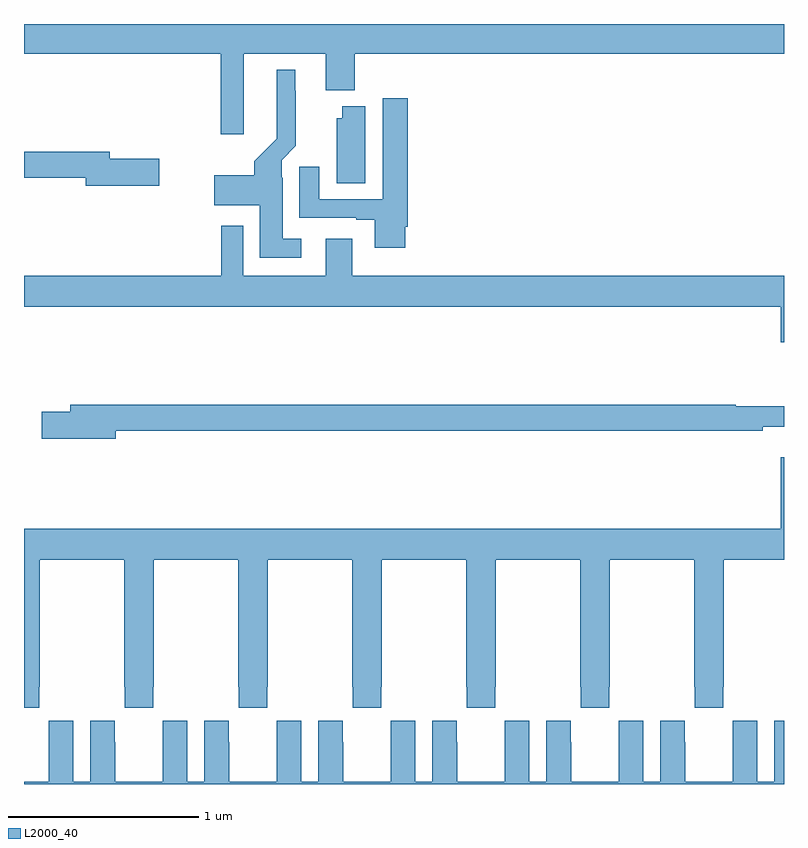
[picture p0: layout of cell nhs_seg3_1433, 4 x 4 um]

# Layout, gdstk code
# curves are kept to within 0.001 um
import gdstk
lib = gdstk.Library(unit=1e-6, precision=1e-09)
def P(c, l, *ps):  # polygons
    for p in ps: c.add(gdstk.Polygon(p, *l))
L2000_40 = (2000, 40)

nhs_seg3_1433 = lib.new_cell('nhs_seg3_1433')
P(nhs_seg3_1433, L2000_40, [(186.157,706.244),(186.587,706.244),(186.587,706.052),(186.74,706.052),(186.74,706.244),(189,706.244),(189,706.4),(185,706.4),(185,706.244),(186.035,706.244),(186.035,705.819),(186.157,705.819)],
  [(186.46,705.271),(186.361,705.271),(186.361,705.59),(186.357,705.59),(186.357,705.684),(186.431,705.758),(186.431,706.049),(186.427,706.049),(186.427,706.159),(186.329,706.159),(186.33,705.796),(186.212,705.678),(186.212,705.604),(186,705.604),(186,705.446),(186.242,705.446),(186.242,705.17),(186.46,705.17)],
  [(187.006,705.334),(187.019,705.334),(187.019,706.009),(186.887,706.009),(186.887,705.477),(186.553,705.477),(186.553,705.649),(186.449,705.649),(186.449,705.381),(186.749,705.381),(186.749,705.369),(186.845,705.369),(186.845,705.222),(187.006,705.222)],
  [(186.796,705.967),(186.674,705.967),(186.674,705.903),(186.647,705.903),(186.647,705.562),(186.796,705.562)],
  [(185.713,705.692),(185.452,705.692),(185.452,705.728),(185,705.728),(185,705.592),(185.324,705.592),(185.324,705.55),(185.713,705.55)],
  [(189,705.076),(186.727,705.076),(186.727,705.271),(186.587,705.271),(186.587,705.076),(186.153,705.076),(186.153,705.337),(186.037,705.337),(186.037,705.076),(185,705.076),(185,704.912),(188.984,704.912),(188.984,704.724),(189,704.724)],
  [(185.482,704.26),(188.888,704.26),(188.888,704.279),(189,704.279),(189,704.389),(188.747,704.389),(188.747,704.396),(185.243,704.396),(185.243,704.36),(185.094,704.36),(185.094,704.218),(185.482,704.218)],
  [(185.079,702.913),(185.082,702.913),(185.082,703.58),(185.527,703.58),(185.527,702.913),(185.529,702.913),(185.529,702.801),(185.679,702.801),(185.679,702.913),(185.682,702.913),(185.682,703.58),(186.127,703.58),(186.127,702.913),(186.129,702.913),(186.129,702.801),(186.279,702.801),(186.279,702.913),(186.282,702.913),(186.282,703.58),(186.727,703.58),(186.727,702.913),(186.729,702.913),(186.729,702.801),(186.879,702.801),(186.879,702.913),(186.882,702.913),(186.882,703.58),(187.327,703.58),(187.327,702.913),(187.329,702.913),(187.329,702.801),(187.479,702.801),(187.479,702.913),(187.482,702.913),(187.482,703.58),(187.927,703.58),(187.927,702.913),(187.929,702.913),(187.929,702.801),(188.079,702.801),(188.079,702.913),(188.082,702.913),(188.082,703.58),(188.527,703.58),(188.527,702.913),(188.529,702.913),(188.529,702.801),(188.679,702.801),(188.679,702.913),(188.682,702.913),(188.682,703.58),(189,703.58),(189,704.119),(188.984,704.119),(188.984,703.744),(185,703.744),(185,702.801),(185.079,702.801)],
  [(189,702.733),(188.948,702.733),(188.948,702.412),(188.86,702.412),(188.86,702.733),(188.73,702.733),(188.73,702.62),(188.729,702.62),(188.729,702.412),(188.479,702.412),(188.479,702.62),(188.478,702.62),(188.478,702.733),(188.348,702.733),(188.348,702.412),(188.26,702.412),(188.26,702.733),(188.13,702.733),(188.13,702.62),(188.129,702.62),(188.129,702.412),(187.879,702.412),(187.879,702.62),(187.878,702.62),(187.878,702.733),(187.748,702.733),(187.748,702.412),(187.66,702.412),(187.66,702.733),(187.53,702.733),(187.53,702.62),(187.529,702.62),(187.529,702.412),(187.279,702.412),(187.279,702.62),(187.278,702.62),(187.278,702.733),(187.148,702.733),(187.148,702.412),(187.06,702.412),(187.06,702.733),(186.93,702.733),(186.93,702.62),(186.929,702.62),(186.929,702.412),(186.679,702.412),(186.679,702.62),(186.678,702.62),(186.678,702.733),(186.548,702.733),(186.548,702.412),(186.46,702.412),(186.46,702.733),(186.33,702.733),(186.33,702.62),(186.329,702.62),(186.329,702.412),(186.079,702.412),(186.079,702.62),(186.078,702.62),(186.078,702.733),(185.948,702.733),(185.948,702.412),(185.86,702.412),(185.86,702.733),(185.73,702.733),(185.73,702.62),(185.729,702.62),(185.729,702.412),(185.479,702.412),(185.479,702.62),(185.478,702.62),(185.478,702.733),(185.348,702.733),(185.348,702.412),(185.26,702.412),(185.26,702.733),(185.13,702.733),(185.13,702.62),(185.129,702.62),(185.129,702.412),(185,702.412),(185,702.4),(189,702.4)])

lib.write_gds('nhs_seg3_1433.gds')
